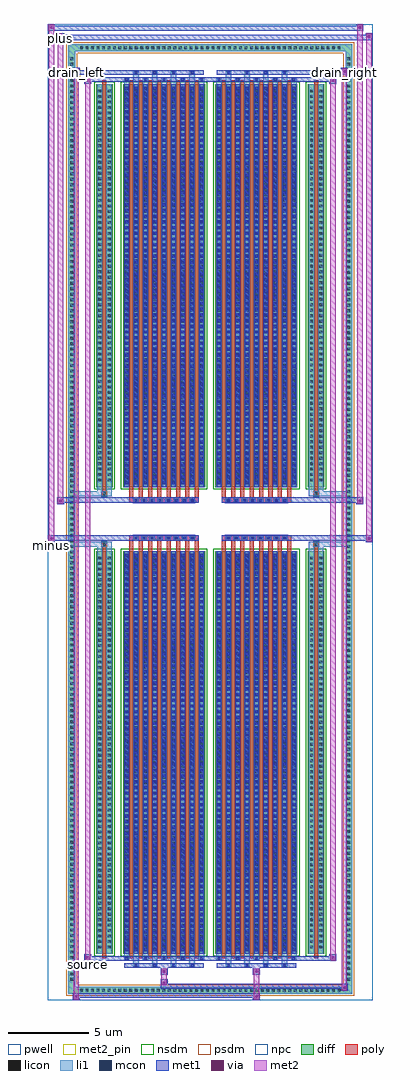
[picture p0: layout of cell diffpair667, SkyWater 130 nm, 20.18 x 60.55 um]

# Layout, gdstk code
import gdstk
lib = gdstk.Library(unit=1e-6, precision=5e-09)
def R(c, l, rs):  # rectangles x0, y0, x1, y1
    for r in rs: c.add(gdstk.rectangle(r[:2], r[2:], *l))
def A(c, l, x, y, w, h, nx, ny, dx, dy):  # array of equal rectangles
    R(c, l, [(x+i*dx, y+j*dy, x+i*dx+w, y+j*dy+h) for i in range(nx) for j in range(ny)])
def P(c, l, *ps):  # polygons
    for p in ps: c.add(gdstk.Polygon(p, *l))
pwell = (64, 44)
diff = (65, 20)
poly = (66, 20)
licon = (66, 44)
li1 = (67, 20)
mcon = (67, 44)
met1 = (68, 20)
via = (68, 44)
met2_pin = (69, 16)
met2 = (69, 20)
nsdm = (93, 44)
psdm = (94, 20)
npc = (95, 20)

diffpair667 = lib.new_cell('diffpair667')
R(diffpair667, pwell, [(-10.07,-29.84,10.07,30.71), (-7.39,-28.03,-0.01,-0.805), (0.01,-28.03,7.39,-0.805), (-7.39,0.805,-0.01,28.03), (0.01,0.805,7.39,28.03)])
A(diffpair667, diff, -8.195, -29.44, 0.41, 0.41, 48, 2, 0.34, 58.47)
A(diffpair667, diff, -8.8, -28.765, 0.41, 0.41, 1, 169, 0, 0.34)
A(diffpair667, diff, 8.39, -28.765, 0.41, 0.41, 1, 169, 0, 0.34)
R(diffpair667, diff, [(-8.195,-29.44,8.195,-29.03), (-8.8,-28.765,-8.39,28.765), (8.39,-28.765,8.8,28.765), (-7.08,-26.985,-6.05,-1.985), (-5.41,-26.985,-0.32,-1.985), (0.32,-26.985,5.41,-1.985), (6.05,-26.985,7.08,-1.985), (-7.08,1.985,-6.05,26.985), (-5.41,1.985,-0.32,26.985), (0.32,1.985,5.41,26.985), (6.05,1.985,7.08,26.985), (-8.195,29.03,8.195,29.44)])
P(diffpair667, diff, [(8.8,29.44),(-8.8,29.44),(-8.8,-29.03),(-8.39,-29.03),(-8.39,29.03),(8.39,29.03),(8.39,-29.03),(-8.39,-29.03),(-8.8,-29.03),(-8.8,-29.44),(8.8,-29.44)])
A(diffpair667, poly, -5.02, -27.235, 0.25, 25.5, 8, 2, 0.58, 28.97)
A(diffpair667, poly, 0.71, -27.235, 0.25, 25.5, 8, 2, 0.58, 28.97)
A(diffpair667, poly, -5.02, -1.735, 0.25, 0.4, 8, 2, 0.58, 3.07)
A(diffpair667, poly, 0.71, -1.735, 0.25, 0.4, 8, 2, 0.58, 3.07)
A(diffpair667, poly, -4.78, -1.335, 0.33, 0.33, 8, 2, 0.5, 2.34)
A(diffpair667, poly, 0.95, -1.335, 0.33, 0.33, 8, 2, 0.5, 2.34)
R(diffpair667, poly, [(-6.69,-27.235,-6.44,-1.735), (6.44,-27.235,6.69,-1.735), (-6.73,-1.735,-6.4,-1.405), (-6.73,-1.735,-6.4,-1.405), (6.4,-1.735,6.73,-1.405), (6.4,-1.735,6.73,-1.405), (-5.02,-1.335,-0.71,-1.005), (0.71,-1.335,5.02,-1.005), (-5.02,1.005,-0.71,1.335), (0.71,1.005,5.02,1.335), (-6.73,1.405,-6.4,1.735), (-6.73,1.405,-6.4,1.735), (6.4,1.405,6.73,1.735), (6.4,1.405,6.73,1.735), (-6.69,1.735,-6.44,27.235), (6.44,1.735,6.69,27.235)])
A(diffpair667, licon, -8.075, -29.32, 0.17, 0.17, 48, 2, 0.34, 58.47)
A(diffpair667, licon, -8.68, -28.645, 0.17, 0.17, 1, 169, 0, 0.34)
A(diffpair667, licon, 8.51, -28.645, 0.17, 0.17, 1, 169, 0, 0.34)
A(diffpair667, licon, -6.94, -26.64, 0.17, 0.17, 1, 72, 0, 0.34)
A(diffpair667, licon, -6.36, -26.64, 0.17, 0.17, 1, 72, 0, 0.34)
A(diffpair667, licon, -5.27, -26.64, 0.17, 0.17, 9, 72, 0.58, 0.34)
A(diffpair667, licon, 0.46, -26.64, 0.17, 0.17, 9, 72, 0.58, 0.34)
A(diffpair667, licon, 6.19, -26.64, 0.17, 0.17, 1, 72, 0, 0.34)
A(diffpair667, licon, 6.77, -26.64, 0.17, 0.17, 1, 72, 0, 0.34)
A(diffpair667, licon, -4.7, -1.255, 0.17, 0.17, 8, 2, 0.5, 2.34)
A(diffpair667, licon, 1.03, -1.255, 0.17, 0.17, 8, 2, 0.5, 2.34)
A(diffpair667, licon, -6.94, 2.33, 0.17, 0.17, 1, 72, 0, 0.34)
A(diffpair667, licon, -6.36, 2.33, 0.17, 0.17, 1, 72, 0, 0.34)
A(diffpair667, licon, -5.27, 2.33, 0.17, 0.17, 9, 72, 0.58, 0.34)
A(diffpair667, licon, 0.46, 2.33, 0.17, 0.17, 9, 72, 0.58, 0.34)
A(diffpair667, licon, 6.19, 2.33, 0.17, 0.17, 1, 72, 0, 0.34)
A(diffpair667, licon, 6.77, 2.33, 0.17, 0.17, 1, 72, 0, 0.34)
R(diffpair667, licon, [(-6.65,-1.655,-6.48,-1.485), (6.48,-1.655,6.65,-1.485), (-6.65,1.485,-6.48,1.655), (6.48,1.485,6.65,1.655)])
A(diffpair667, li1, -8.155, -29.4, 0.33, 0.33, 48, 2, 0.34, 58.47)
A(diffpair667, li1, -8.76, -28.725, 0.33, 0.33, 1, 169, 0, 0.34)
A(diffpair667, li1, 8.43, -28.725, 0.33, 0.33, 1, 169, 0, 0.34)
A(diffpair667, li1, -4.77, -27.79, 0.33, 0.805, 4, 2, 1.16, 54.775)
A(diffpair667, li1, -4.69, -27.79, 0.17, 0.17, 4, 2, 1.16, 55.41)
A(diffpair667, li1, 0.96, -27.79, 0.33, 0.805, 4, 2, 1.16, 54.775)
A(diffpair667, li1, 1.04, -27.79, 0.17, 0.17, 4, 2, 1.16, 55.41)
A(diffpair667, li1, -5.35, -27.36, 0.33, 0.375, 5, 2, 1.16, 54.345)
A(diffpair667, li1, -5.27, -27.36, 0.17, 0.17, 5, 2, 1.16, 54.55)
A(diffpair667, li1, 0.38, -27.36, 0.33, 0.375, 5, 2, 1.16, 54.345)
A(diffpair667, li1, 0.46, -27.36, 0.17, 0.17, 5, 2, 1.16, 54.55)
A(diffpair667, li1, -5.35, -26.985, 0.33, 25, 9, 2, 0.58, 28.97)
A(diffpair667, li1, 0.38, -26.985, 0.33, 25, 9, 2, 0.58, 28.97)
A(diffpair667, li1, -5.27, -26.81, 0.17, 0.17, 9, 69, 0.58, 0.36)
A(diffpair667, li1, -5.27, -26.81, 0.17, 24.65, 9, 2, 0.58, 28.97)
A(diffpair667, li1, 0.46, -26.81, 0.17, 0.17, 9, 69, 0.58, 0.36)
A(diffpair667, li1, 0.46, -26.81, 0.17, 24.65, 9, 2, 0.58, 28.97)
A(diffpair667, li1, -7.02, -26.72, 0.33, 0.33, 1, 72, 0, 0.34)
A(diffpair667, li1, -6.44, -26.72, 0.33, 0.33, 1, 72, 0, 0.34)
A(diffpair667, li1, -5.35, -26.72, 0.33, 0.33, 9, 72, 0.58, 0.34)
A(diffpair667, li1, 0.38, -26.72, 0.33, 0.33, 9, 72, 0.58, 0.34)
A(diffpair667, li1, 6.11, -26.72, 0.33, 0.33, 1, 72, 0, 0.34)
A(diffpair667, li1, 6.69, -26.72, 0.33, 0.33, 1, 72, 0, 0.34)
A(diffpair667, li1, -4.78, -1.335, 0.33, 0.33, 8, 2, 0.5, 2.34)
A(diffpair667, li1, 0.95, -1.335, 0.33, 0.33, 8, 2, 0.5, 2.34)
A(diffpair667, li1, -5.27, 2.16, 0.17, 0.17, 9, 69, 0.58, 0.36)
A(diffpair667, li1, 0.46, 2.16, 0.17, 0.17, 9, 69, 0.58, 0.36)
A(diffpair667, li1, -7.02, 2.25, 0.33, 0.33, 1, 72, 0, 0.34)
A(diffpair667, li1, -6.44, 2.25, 0.33, 0.33, 1, 72, 0, 0.34)
A(diffpair667, li1, -5.35, 2.25, 0.33, 0.33, 9, 72, 0.58, 0.34)
A(diffpair667, li1, 0.38, 2.25, 0.33, 0.33, 9, 72, 0.58, 0.34)
A(diffpair667, li1, 6.11, 2.25, 0.33, 0.33, 1, 72, 0, 0.34)
A(diffpair667, li1, 6.69, 2.25, 0.33, 0.33, 1, 72, 0, 0.34)
R(diffpair667, li1, [(-8.8,-29.44,-8.39,-29.03), (-8.8,-29.44,-8.39,-29.03), (-8.39,-29.44,8.39,-29.03), (8.39,-29.44,8.8,-29.03), (8.39,-29.44,8.8,-29.03), (-8.8,-29.03,-8.39,29.03), (8.39,-29.03,8.8,29.03), (-7.02,-26.985,-6.69,-1.985), (-6.44,-26.985,-6.11,-1.985), (6.11,-26.985,6.44,-1.985), (6.69,-26.985,7.02,-1.985), (-7.02,-1.985,-6.69,-1.405), (-6.44,-1.985,-6.11,-1.405), (6.11,-1.985,6.44,-1.405), (6.69,-1.985,7.02,-1.405), (-8.8,-1.735,-6.73,-1.405), (-7.02,-1.735,-6.73,-1.405), (-6.73,-1.735,-6.4,-1.405), (-6.4,-1.735,-6.11,-1.405), (6.11,-1.735,6.4,-1.405), (6.4,-1.735,6.73,-1.405), (6.4,-1.735,8.8,-1.405), (6.73,-1.735,7.02,-1.405), (-8.8,1.405,-6.73,1.735), (-7.02,1.405,-6.73,1.735), (-7.02,1.405,-6.69,1.985), (-6.73,1.405,-6.4,1.735), (-6.44,1.405,-6.11,1.985), (-6.4,1.405,-6.11,1.735), (6.11,1.405,6.4,1.735), (6.11,1.405,6.44,1.985), (6.4,1.405,6.73,1.735), (6.4,1.405,8.8,1.735), (6.69,1.405,7.02,1.985), (6.73,1.405,7.02,1.735), (-7.02,1.985,-6.69,26.985), (-6.44,1.985,-6.11,26.985), (6.11,1.985,6.44,26.985), (6.69,1.985,7.02,26.985), (-8.8,29.03,-8.39,29.44), (-8.8,29.03,-8.39,29.44), (-8.39,29.03,8.39,29.44), (8.39,29.03,8.8,29.44), (8.39,29.03,8.8,29.44)])
A(diffpair667, mcon, -4.69, -27.79, 0.17, 0.17, 4, 2, 1.16, 55.41)
A(diffpair667, mcon, 1.04, -27.79, 0.17, 0.17, 4, 2, 1.16, 55.41)
A(diffpair667, mcon, -5.27, -27.36, 0.17, 0.17, 5, 2, 1.16, 54.55)
A(diffpair667, mcon, 0.46, -27.36, 0.17, 0.17, 5, 2, 1.16, 54.55)
A(diffpair667, mcon, -5.27, -26.81, 0.17, 0.17, 9, 69, 0.58, 0.36)
A(diffpair667, mcon, 0.46, -26.81, 0.17, 0.17, 9, 69, 0.58, 0.36)
A(diffpair667, mcon, -4.7, -1.255, 0.17, 0.17, 8, 2, 0.5, 2.34)
A(diffpair667, mcon, 1.03, -1.255, 0.17, 0.17, 8, 2, 0.5, 2.34)
A(diffpair667, mcon, -5.27, 2.16, 0.17, 0.17, 9, 69, 0.58, 0.36)
A(diffpair667, mcon, 0.46, 2.16, 0.17, 0.17, 9, 69, 0.58, 0.36)
A(diffpair667, met1, -4.75, -27.85, 0.29, 0.29, 4, 2, 1.16, 55.41)
A(diffpair667, met1, 0.98, -27.85, 0.29, 0.29, 4, 2, 1.16, 55.41)
A(diffpair667, met1, -5.33, -27.42, 0.29, 0.29, 5, 2, 1.16, 54.55)
A(diffpair667, met1, 0.4, -27.42, 0.29, 0.29, 5, 2, 1.16, 54.55)
A(diffpair667, met1, -5.33, -26.985, 0.29, 25, 9, 2, 0.58, 28.97)
A(diffpair667, met1, 0.4, -26.985, 0.29, 25, 9, 2, 0.58, 28.97)
A(diffpair667, met1, -5.33, -26.87, 0.29, 0.29, 9, 69, 0.58, 0.36)
A(diffpair667, met1, 0.4, -26.87, 0.29, 0.29, 9, 69, 0.58, 0.36)
A(diffpair667, met1, -4.76, -1.315, 0.29, 0.29, 8, 2, 0.5, 2.34)
A(diffpair667, met1, 0.97, -1.315, 0.29, 0.29, 8, 2, 0.5, 2.34)
A(diffpair667, met1, -5.33, 2.1, 0.29, 0.29, 9, 69, 0.58, 0.36)
A(diffpair667, met1, 0.4, 2.1, 0.29, 0.29, 9, 69, 0.58, 0.36)
R(diffpair667, met1, [(-8.53,-29.84,-8.1,-29.41), (2.65,-29.84,3.08,-29.41), (-8.53,-29.7,3.08,-29.41), (8.1,-29.27,8.53,-28.84), (-3.08,-29.13,8.53,-28.84), (-3.08,-28.99,-2.65,-28.56), (-3.08,-28.28,-2.65,-27.85), (2.65,-28.28,3.08,-27.85), (-5.33,-27.85,-0.4,-27.56), (0.4,-27.85,5.33,-27.56), (-7.82,-27.42,-7.39,-26.99), (-7.82,-27.42,-5.33,-27.13), (-5.33,-27.42,-0.4,-27.13), (-0.4,-27.42,0.4,-27.13), (0.4,-27.42,5.33,-27.13), (5.33,-27.42,7.82,-27.13), (7.39,-27.42,7.82,-26.99), (-10.07,-1.435,-9.64,-1.005), (9.64,-1.435,10.07,-1.005), (-10.07,-1.335,-0.71,-1.005), (-5.02,-1.335,-0.71,-1.005), (0.71,-1.335,5.02,-1.005), (0.71,-1.335,10.07,-1.005), (-9.5,0.905,-9.07,1.335), (9.07,0.905,9.5,1.335), (-9.5,1.005,-5.02,1.335), (-5.02,1.005,-0.71,1.335), (0.71,1.005,5.02,1.335), (5.02,1.005,9.5,1.335), (-7.82,26.99,-7.39,27.42), (7.39,26.99,7.82,27.42), (-7.82,27.13,-5.33,27.42), (-5.33,27.13,-0.4,27.42), (-0.4,27.13,0.4,27.42), (0.4,27.13,5.33,27.42), (5.33,27.13,7.82,27.42), (-8.53,27.56,-8.1,27.99), (-8.53,27.56,-5.33,27.85), (-5.33,27.56,-0.4,27.85), (0.4,27.56,5.33,27.85), (5.33,27.56,8.53,27.85), (8.1,27.56,8.53,27.99), (-9.5,29.71,-9.07,30.14), (-9.5,29.71,-7.39,30.04), (-7.39,29.71,7.39,30.04), (7.39,29.71,10.07,30.04), (9.64,29.71,10.07,30.14), (-10.07,30.28,-9.64,30.71), (-10.07,30.28,-7.39,30.61), (-7.39,30.28,7.39,30.61), (7.39,30.28,9.5,30.61), (9.07,30.28,9.5,30.71)])
R(diffpair667, via, [(-8.39,-29.7,-8.24,-29.55), (2.79,-29.7,2.94,-29.55), (8.24,-29.13,8.39,-28.98), (-2.94,-28.85,-2.79,-28.7), (-2.94,-28.14,-2.79,-27.99), (2.79,-28.14,2.94,-27.99), (-7.68,-27.28,-7.53,-27.13), (7.53,-27.28,7.68,-27.13), (-9.93,-1.295,-9.78,-1.145), (9.78,-1.295,9.93,-1.145), (-9.36,1.045,-9.21,1.195), (9.21,1.045,9.36,1.195), (-7.68,27.13,-7.53,27.28), (7.53,27.13,7.68,27.28), (-8.39,27.7,-8.24,27.85), (8.24,27.7,8.39,27.85), (-9.36,29.85,-9.21,30), (9.78,29.85,9.93,30), (-9.93,30.42,-9.78,30.57), (9.21,30.42,9.36,30.57)])
R(diffpair667, met2_pin, [(-7.855,-27.87,-7.355,-27.37), (-10.105,-1.885,-9.605,-1.385), (-8.565,27.44,-8.065,27.94), (8.065,27.44,8.565,27.94), (-9.535,29.59,-9.035,30.09)])
R(diffpair667, met2, [(-8.48,-29.79,-8.15,-29.46), (-8.48,-29.79,-8.15,27.94), (2.7,-29.79,3.03,-29.46), (2.7,-29.46,3.03,-28.23), (8.15,-29.22,8.48,-28.89), (8.15,-29.22,8.48,27.94), (-3.03,-28.94,-2.7,-28.61), (-3.03,-28.61,-2.7,-28.23), (-3.03,-28.23,-2.7,-27.9), (2.7,-28.23,3.03,-27.9), (-7.77,-27.37,-7.44,-27.04), (-7.77,-27.37,-7.44,27.37), (7.44,-27.37,7.77,-27.04), (7.44,-27.37,7.77,27.37), (-10.02,-1.385,-9.69,-1.055), (-10.02,-1.385,-9.69,30.66), (9.69,-1.385,10.02,-1.055), (9.69,-1.385,10.02,30.09), (-9.45,0.955,-9.12,1.285), (-9.45,0.955,-9.12,30.09), (9.12,0.955,9.45,1.285), (9.12,0.955,9.45,30.66), (-7.77,27.04,-7.44,27.37), (7.44,27.04,7.77,27.37), (-8.48,27.61,-8.15,27.94), (8.15,27.61,8.48,27.94), (-9.45,29.76,-9.12,30.09), (9.69,29.76,10.02,30.09), (-10.02,30.33,-9.69,30.66), (9.12,30.33,9.45,30.66)])
P(diffpair667, met2, [(10.02,-1.385),(10.02,-1.385),(10.02,-1.055),(10.02,-1.055)],
  [(10.02,29.76),(10.02,29.76),(10.02,30.09),(10.02,30.09)],
  [(-9.69,-1.385),(-9.69,-1.385),(-9.69,-1.055),(-9.69,-1.055)],
  [(-9.69,30.33),(-9.69,30.33),(-9.69,30.66),(-9.69,30.66)],
  [(9.45,0.955),(9.45,0.955),(9.45,1.285),(9.45,1.285)],
  [(9.45,30.33),(9.45,30.33),(9.45,30.66),(9.45,30.66)],
  [(-9.12,0.955),(-9.12,0.955),(-9.12,1.285),(-9.12,1.285)],
  [(-9.12,29.76),(-9.12,29.76),(-9.12,30.09),(-9.12,30.09)],
  [(-8.15,-29.79),(-8.15,-29.79),(-8.15,-29.46),(-8.15,-29.46)],
  [(-8.15,27.61),(-8.15,27.61),(-8.15,27.94),(-8.15,27.94)],
  [(8.48,-29.22),(8.48,-29.22),(8.48,-28.89),(8.48,-28.89)],
  [(8.48,27.61),(8.48,27.61),(8.48,27.94),(8.48,27.94)],
  [(-7.44,-27.37),(-7.44,-27.37),(-7.44,-27.04),(-7.44,-27.04)],
  [(-7.44,27.04),(-7.44,27.04),(-7.44,27.37),(-7.44,27.37)],
  [(7.77,-27.37),(7.77,-27.37),(7.77,-27.04),(7.77,-27.04)],
  [(7.77,27.04),(7.77,27.04),(7.77,27.37),(7.77,27.37)])
R(diffpair667, nsdm, [(-7.21,-27.115,-5.92,-1.855), (-5.54,-27.115,-0.19,-1.855), (0.19,-27.115,5.54,-1.855), (5.92,-27.115,7.21,-1.855), (-7.21,1.855,-5.92,27.115), (-5.54,1.855,-0.19,27.115), (0.19,1.855,5.54,27.115), (5.92,1.855,7.21,27.115)])
P(diffpair667, psdm, [(8.93,29.57),(-8.93,29.57),(-8.93,-28.9),(-8.26,-28.9),(-8.26,28.9),(8.26,28.9),(8.26,-28.9),(-8.26,-28.9),(-8.93,-28.9),(-8.93,-29.57),(8.93,-29.57)])
A(diffpair667, npc, -4.8, -1.355, 0.37, 0.37, 8, 2, 0.5, 2.34)
A(diffpair667, npc, 0.93, -1.355, 0.37, 0.37, 8, 2, 0.5, 2.34)
R(diffpair667, npc, [(-6.75,-1.755,-6.38,-1.385), (6.38,-1.755,6.75,-1.385), (-4.8,-1.355,-3.93,-0.985), (-4.8,-1.355,-3.93,-0.985), (-4.3,-1.355,-3.43,-0.985), (-4.3,-1.355,-3.43,-0.985), (-3.8,-1.355,-2.93,-0.985), (-3.8,-1.355,-2.93,-0.985), (-3.3,-1.355,-2.43,-0.985), (-3.3,-1.355,-2.43,-0.985), (-2.8,-1.355,-1.93,-0.985), (-2.8,-1.355,-1.93,-0.985), (-2.3,-1.355,-1.43,-0.985), (-2.3,-1.355,-1.43,-0.985), (-1.8,-1.355,-0.93,-0.985), (-1.8,-1.355,-0.93,-0.985), (0.93,-1.355,1.8,-0.985), (0.93,-1.355,1.8,-0.985), (1.43,-1.355,2.3,-0.985), (1.43,-1.355,2.3,-0.985), (1.93,-1.355,2.8,-0.985), (1.93,-1.355,2.8,-0.985), (2.43,-1.355,3.3,-0.985), (2.43,-1.355,3.3,-0.985), (2.93,-1.355,3.8,-0.985), (2.93,-1.355,3.8,-0.985), (3.43,-1.355,4.3,-0.985), (3.43,-1.355,4.3,-0.985), (3.93,-1.355,4.8,-0.985), (3.93,-1.355,4.8,-0.985), (-4.8,0.985,-3.93,1.355), (-4.8,0.985,-3.93,1.355), (-4.3,0.985,-3.43,1.355), (-4.3,0.985,-3.43,1.355), (-3.8,0.985,-2.93,1.355), (-3.8,0.985,-2.93,1.355), (-3.3,0.985,-2.43,1.355), (-3.3,0.985,-2.43,1.355), (-2.8,0.985,-1.93,1.355), (-2.8,0.985,-1.93,1.355), (-2.3,0.985,-1.43,1.355), (-2.3,0.985,-1.43,1.355), (-1.8,0.985,-0.93,1.355), (-1.8,0.985,-0.93,1.355), (0.93,0.985,1.8,1.355), (0.93,0.985,1.8,1.355), (1.43,0.985,2.3,1.355), (1.43,0.985,2.3,1.355), (1.93,0.985,2.8,1.355), (1.93,0.985,2.8,1.355), (2.43,0.985,3.3,1.355), (2.43,0.985,3.3,1.355), (2.93,0.985,3.8,1.355), (2.93,0.985,3.8,1.355), (3.43,0.985,4.3,1.355), (3.43,0.985,4.3,1.355), (3.93,0.985,4.8,1.355), (3.93,0.985,4.8,1.355), (-6.75,1.385,-6.38,1.755), (6.38,1.385,6.75,1.755)])
diffpair667.add(gdstk.Label('minus', (-9.855,-1.635), layer=69, texttype=5))
diffpair667.add(gdstk.Label('drain_right', (8.315,27.69), layer=69, texttype=5))
diffpair667.add(gdstk.Label('drain_left', (-8.315,27.69), layer=69, texttype=5))
diffpair667.add(gdstk.Label('source', (-7.605,-27.62), layer=69, texttype=5))
diffpair667.add(gdstk.Label('plus', (-9.285,29.84), layer=69, texttype=5))

lib.write_gds('diffpair667.gds')
